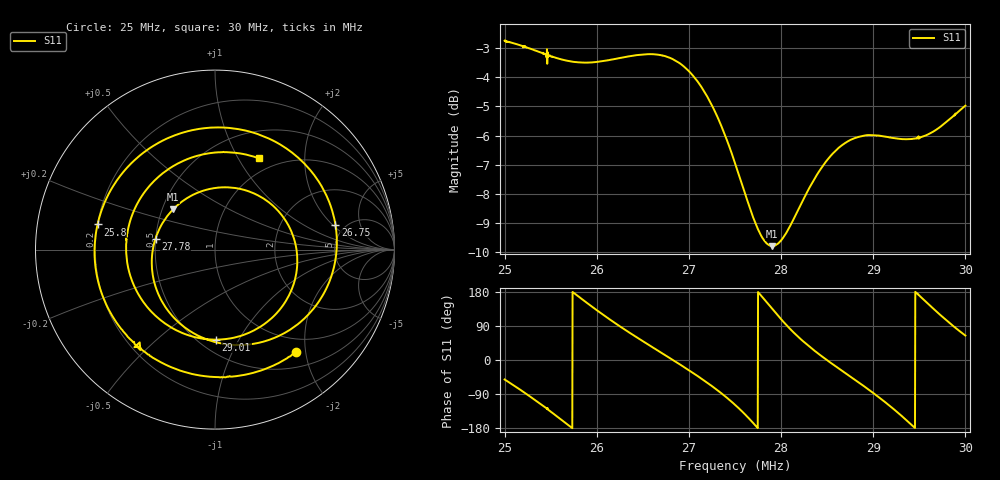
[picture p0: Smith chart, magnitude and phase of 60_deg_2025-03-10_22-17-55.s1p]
! NanoVNA-App
! Date: 2025-03-10 22:18:33
! Start: 25MHz Stop: 30MHz Points: 1601
! S-Parameter data: F S11
# Hz S RI R 50
!  Frequency  S11_Real  S11_Imag
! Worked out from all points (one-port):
!   1601 points, 25 MHz to 30 MHz, reference 50 ohm
!   lowest |S11| = -9.8 dB at 27.9 MHz (marker M1), VSWR 1.96, Z = 28.5 + j14.3 ohm
!   |S11| at or under -10 dB: nowhere
!   S11 on the Smith chart (normalised r, x): 25 MHz: 0.75, -1.83; 25.8 MHz: 0.20, +0.10; 26.75 MHz: 4.16, +2.18; 27.78 MHz: 0.50, +0.07; 29.01 MHz: 0.60, -0.81; 30 MHz: 0.82, +1.22
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2.5e7  0.4539 -0.5704
2.516562e7  0.1511 -0.7002
2.530938e7  -0.1474 -0.6881
2.545625e7  -0.4171 -0.539
2.5625e7  -0.6333 -0.2381
2.58e7  -0.6544 0.1404
2.60375e7  -0.3839 0.551
2.625e7  0.0124 0.6807
2.6475e7  0.4106 0.5544
2.675e7  0.671 0.139
2.6875e7  0.6653 -0.0869
2.703125e7  0.5412 -0.3386
2.720938e7  0.2748 -0.5114
2.735312e7  0.0182 -0.5194
2.75e7  -0.212 -0.3966
2.764375e7  -0.3394 -0.1784
2.778438e7  -0.3314 0.0613
2.79e7  -0.2326 0.2249
2.8125e7  0.0901 0.3457
2.845312e7  0.4405 0.0598
2.875e7  0.3572 -0.3388
2.90125e7  0.0062 -0.5016
2.91875e7  -0.2682 -0.4184
2.9375e7  -0.4698 -0.1526
2.954375e7  -0.4694 0.1707
2.972812e7  -0.2499 0.4547
2.985938e7  -0.0127 0.5394
3e7  0.2432 0.5089
